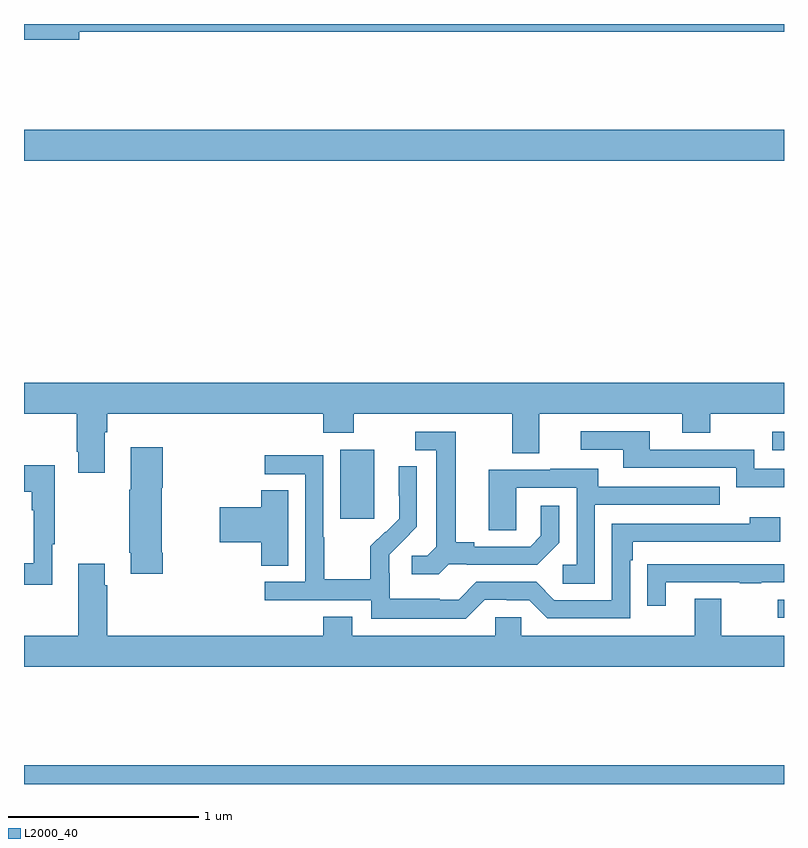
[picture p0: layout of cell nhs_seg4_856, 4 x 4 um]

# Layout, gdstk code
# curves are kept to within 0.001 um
import gdstk
lib = gdstk.Library(unit=1e-6, precision=1e-09)
def R(c, l, rs):  # rectangles x0, y0, x1, y1
    for r in rs: c.add(gdstk.rectangle(r[:2], r[2:], *l))
def P(c, l, *ps):  # polygons
    for p in ps: c.add(gdstk.Polygon(p, *l))
L2000_40 = (2000, 40)

nhs_seg4_856 = lib.new_cell('nhs_seg4_856')
R(nhs_seg4_856, L2000_40, [(155,766.9,159,767), (158.967,767.775,159,767.871), (156.665,768.297,156.844,768.658), (158.937,768.657,159,768.753), (155,770.18,159,770.344)])
P(nhs_seg4_856, L2000_40, [(155.29,770.86),(159,770.86),(159,770.9),(155,770.9),(155,770.818),(155.29,770.818)],
  [(155.425,768.752),(155.438,768.752),(155.438,768.848),(156.575,768.848),(156.575,768.749),(156.735,768.749),(156.735,768.848),(157.571,768.848),(157.571,768.64),(157.711,768.64),(157.711,768.848),(158.465,768.848),(158.465,768.749),(158.613,768.749),(158.613,768.848),(159,768.848),(159,769.012),(155,769.012),(155,768.848),(155.278,768.848),(155.278,768.649),(155.285,768.649),(155.285,768.537),(155.425,768.537)],
  [(159,768.558),(158.844,768.558),(158.844,768.66),(158.293,768.66),(158.293,768.756),(157.929,768.756),(157.929,768.66),(158.153,768.66),(158.153,768.564),(158.748,768.564),(158.748,768.461),(159,768.461)],
  [(157.236,768.057),(157.33,768.057),(157.33,768.054),(157.702,768.054),(157.818,768.17),(157.818,768.364),(157.721,768.364),(157.721,768.207),(157.664,768.15),(157.369,768.15),(157.369,768.173),(157.273,768.173),(157.273,768.753),(157.059,768.753),(157.059,768.657),(157.169,768.657),(157.169,768.149),(157.122,768.102),(157.041,768.102),(157.041,768.005),(157.184,768.005)],
  [(155.729,768.118),(155.724,768.118),(155.724,768.46),(155.729,768.46),(155.729,768.673),(155.561,768.673),(155.561,768.449),(155.554,768.449),(155.554,768.118),(155.561,768.118),(155.561,768.006),(155.729,768.006)],
  [(157.425,767.871),(157.541,767.871),(157.541,767.868),(157.659,767.868),(157.755,767.772),(158.19,767.772),(158.19,768.077),(158.203,768.077),(158.203,768.174),(158.98,768.174),(158.98,768.304),(158.819,768.304),(158.819,768.27),(158.094,768.27),(158.094,767.868),(157.791,767.868),(157.695,767.964),(157.38,767.964),(157.287,767.871),(157.187,767.871),(157.187,767.875),(156.924,767.875),(156.924,768.009),(156.922,768.009),(156.922,768.106),(157.068,768.254),(157.068,768.572),(156.972,768.572),(156.972,768.418),(156.974,768.418),(156.974,768.296),(156.903,768.225),(156.9,768.228),(156.823,768.151),(156.823,767.977),(156.579,767.977),(156.579,768.2),(156.576,768.2),(156.576,768.63),(156.267,768.63),(156.267,768.531),(156.48,768.531),(156.48,767.964),(156.267,767.964),(156.267,767.868),(156.828,767.868),(156.828,767.771),(157.325,767.771)],
  [(155.149,768.161),(155.161,768.161),(155.161,768.577),(155,768.577),(155,768.437),(155.04,768.437),(155.04,768.341),(155.052,768.341),(155.052,768.062),(155.001,768.062),(155.001,767.949),(155.149,767.949)],
  [(158.004,768.369),(158.663,768.369),(158.663,768.465),(158.023,768.465),(158.023,768.559),(157.769,768.559),(157.769,768.555),(157.445,768.555),(157.445,768.235),(157.59,768.235),(157.59,768.459),(157.908,768.459),(157.908,768.054),(157.836,768.054),(157.836,767.953),(158.004,767.953)],
  [(156.391,768.446),(156.248,768.446),(156.248,768.356),(156.03,768.356),(156.03,768.173),(156.248,768.173),(156.248,768.049),(156.391,768.049)],
  [(159,767.68),(158.671,767.68),(158.671,767.875),(158.531,767.875),(158.531,767.68),(157.617,767.68),(157.617,767.778),(157.479,767.778),(157.479,767.68),(156.727,767.68),(156.727,767.779),(156.575,767.779),(156.575,767.68),(155.438,767.68),(155.438,767.945),(155.425,767.945),(155.425,768.058),(155.285,768.058),(155.285,767.68),(155,767.68),(155,767.516),(159,767.516)],
  [(158.377,767.961),(158.767,767.961),(158.767,767.956),(158.879,767.956),(158.879,767.961),(159,767.961),(159,768.057),(158.383,768.057),(158.383,768.056),(158.281,768.056),(158.281,767.838),(158.377,767.838)])

lib.write_gds('nhs_seg4_856.gds')
